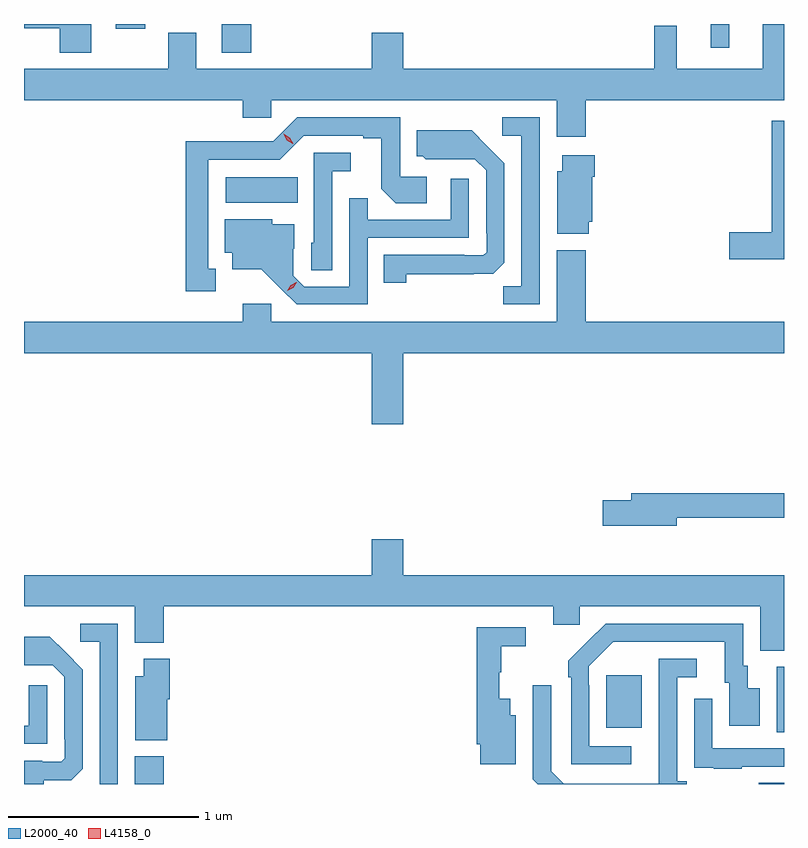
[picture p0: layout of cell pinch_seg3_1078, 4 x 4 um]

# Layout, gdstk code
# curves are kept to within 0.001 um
import gdstk
lib = gdstk.Library(unit=1e-6, precision=1e-09)
def R(c, l, rs):  # rectangles x0, y0, x1, y1
    for r in rs: c.add(gdstk.rectangle(r[:2], r[2:], *l))
def P(c, l, *ps):  # polygons
    for p in ps: c.add(gdstk.Polygon(p, *l))
L2000_40 = (2000, 40)
L4158_0 = (4158, 0)

pinch_seg3_1078 = lib.new_cell('pinch_seg3_1078')
R(pinch_seg3_1078, L2000_40, [(319.604,682.664,319.757,682.81), (322.888,682.664,323.021,682.67), (322.982,682.936,323.021,683.28), (322.085,682.961,322.273,683.236), (320.082,685.724,320.462,685.858), (320.063,686.514,320.216,686.664), (322.635,686.538,322.732,686.664), (319.503,686.64,319.659,686.664)])
P(pinch_seg3_1078, L2000_40, [(319.375,686.664),(319.021,686.664),(319.021,686.642),(319.208,686.642),(319.208,686.514),(319.375,686.514)],
  [(321.977,686.264),(323.021,686.264),(323.021,686.662),(322.91,686.662),(322.91,686.428),(322.457,686.428),(322.457,686.656),(322.339,686.656),(322.339,686.428),(321.016,686.428),(321.016,686.617),(320.852,686.617),(320.852,686.428),(319.927,686.428),(319.927,686.618),(319.78,686.618),(319.78,686.428),(319.021,686.428),(319.021,686.264),(320.171,686.264),(320.171,686.171),(320.322,686.171),(320.322,686.264),(321.824,686.264),(321.824,686.07),(321.977,686.07)],
  [(321.735,686.172),(321.537,686.172),(321.537,686.076),(321.639,686.076),(321.639,685.283),(321.544,685.283),(321.544,685.188),(321.735,685.188)],
  [(320.029,685.377),(319.99,685.377),(319.99,685.95),(320.367,685.95),(320.493,686.076),(320.807,686.076),(320.807,686.064),(320.901,686.064),(320.901,685.796),(320.977,685.72),(321.142,685.72),(321.142,685.86),(321,685.86),(321,686.172),(320.46,686.172),(320.334,686.046),(320.112,686.046),(320.112,686.048),(319.872,686.048),(319.872,685.257),(320.029,685.257)],
  [(323.021,686.154),(322.957,686.154),(322.957,685.568),(322.734,685.568),(322.734,685.426),(323.021,685.426)],
  [(321.033,685.348),(321.49,685.349),(321.549,685.408),(321.549,685.93),(321.377,686.104),(321.089,686.104),(321.089,685.968),(321.12,685.968),(321.136,685.952),(321.393,685.953),(321.453,685.893),(321.453,685.564),(321.456,685.564),(321.456,685.464),(321.438,685.446),(321.338,685.446),(321.338,685.449),(320.914,685.449),(320.914,685.302),(321.033,685.302)],
  [(320.643,685.889),(320.74,685.889),(320.74,685.986),(320.547,685.986),(320.547,685.512),(320.532,685.512),(320.532,685.369),(320.643,685.369)],
  [(321.994,685.623),(322.012,685.623),(322.012,685.859),(322.025,685.859),(322.025,685.972),(321.854,685.972),(321.854,685.89),(321.827,685.89),(321.827,685.559),(321.994,685.559)],
  [(320.829,685.539),(321.363,685.539),(321.363,685.849),(321.267,685.849),(321.267,685.635),(320.831,685.635),(320.831,685.748),(320.733,685.748),(320.733,685.281),(320.496,685.281),(320.439,685.338),(320.439,685.48),(320.443,685.48),(320.443,685.609),(320.328,685.609),(320.328,685.636),(320.078,685.636),(320.078,685.46),(320.117,685.46),(320.117,685.373),(320.269,685.373),(320.456,685.188),(320.829,685.188)],
  [(321.824,685.474),(321.824,685.096),(320.322,685.096),(320.322,685.192),(320.171,685.192),(320.171,685.096),(319.021,685.096),(319.021,684.932),(320.852,684.932),(320.852,684.558),(321.016,684.558),(321.016,684.932),(323.021,684.932),(323.021,685.096),(321.977,685.096),(321.977,685.474)],
  [(322.456,684.066),(323.021,684.066),(323.021,684.194),(322.217,684.194),(322.217,684.158),(322.068,684.158),(322.068,684.023),(322.456,684.023)],
  [(323.021,683.764),(321.016,683.764),(321.016,683.953),(320.852,683.953),(320.852,683.764),(319.021,683.764),(319.021,683.6),(319.604,683.6),(319.604,683.408),(319.757,683.408),(319.757,683.6),(321.806,683.6),(321.806,683.502),(321.945,683.502),(321.945,683.6),(322.895,683.6),(322.895,683.365),(323.021,683.365)],
  [(322.216,682.863),(321.996,682.863),(321.996,683.183),(321.993,683.183),(321.993,683.283),(322.122,683.412),(322.709,683.412),(322.709,683.196),(322.733,683.196),(322.733,682.971),(322.894,682.971),(322.894,683.167),(322.831,683.167),(322.831,683.286),(322.806,683.286),(322.806,683.508),(322.082,683.508),(321.885,683.313),(321.885,683.225),(321.9,683.225),(321.9,682.767),(322.216,682.767)],
  [(319.515,683.508),(319.317,683.508),(319.317,683.412),(319.419,683.412),(319.419,682.664),(319.515,682.664)],
  [(321.61,683.026),(321.58,683.026),(321.58,683.113),(321.521,683.113),(321.521,683.253),(321.532,683.253),(321.532,683.389),(321.661,683.389),(321.661,683.49),(321.403,683.49),(321.403,682.873),(321.422,682.873),(321.422,682.769),(321.61,682.769)],
  [(319.126,682.685),(319.27,682.685),(319.329,682.744),(319.329,683.266),(319.157,683.44),(319.021,683.44),(319.021,683.288),(319.173,683.289),(319.233,683.229),(319.233,682.9),(319.236,682.9),(319.236,682.8),(319.218,682.782),(319.118,682.782),(319.118,682.786),(319.021,682.786),(319.021,682.664),(319.126,682.664)],
  [(319.774,683.109),(319.787,683.109),(319.787,683.323),(319.652,683.323),(319.652,683.23),(319.607,683.23),(319.607,682.895),(319.774,682.895)],
  [(322.51,682.678),(322.458,682.678),(322.458,683.226),(322.561,683.226),(322.561,683.322),(322.362,683.322),(322.361,682.665),(321.861,682.665),(321.795,682.731),(321.795,683.185),(321.699,683.185),(321.699,682.689),(321.724,682.664),(322.51,682.664)],
  [(319.143,683.185),(319.047,683.185),(319.047,682.971),(319.021,682.971),(319.021,682.875),(319.143,682.875)],
  [(322.799,682.755),(323.021,682.755),(323.021,682.851),(322.644,682.851),(322.644,683.113),(322.548,683.113),(322.548,682.858),(322.549,682.858),(322.549,682.749),(322.651,682.749),(322.651,682.743),(322.799,682.743)])
P(pinch_seg3_1078, L4158_0, [(320.407,685.26),(320.407,685.26),(320.424,685.29),(320.455,685.305),(320.456,685.305),(320.456,685.305),(320.438,685.275),(320.407,685.26)],
  [(320.436,686.033),(320.405,686.053),(320.388,686.086),(320.388,686.086),(320.389,686.086),(320.42,686.066),(320.437,686.034),(320.437,686.033)])

lib.write_gds('pinch_seg3_1078.gds')
